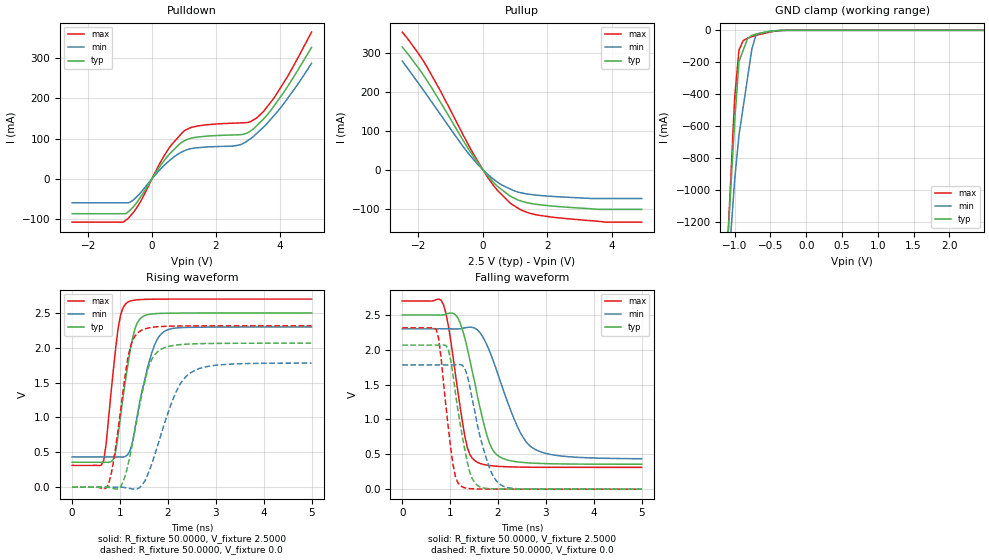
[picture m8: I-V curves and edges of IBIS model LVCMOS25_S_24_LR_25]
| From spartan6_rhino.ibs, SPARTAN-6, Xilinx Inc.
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|   Model LVCMOS25_S_24_LR_25
[Model]  LVCMOS25_S_24_LR_25
Model_type I/O
Polarity   Non-Inverting
Enable   Active-Low
Vinl =   0.7000V
Vinh =   1.7000V
Vmeas =  1.2500V
Cref =   0.0F
Rref =   1.0000M
Vref =   0.0V
C_comp   6.08pF   5.79pF   6.38pF
|C_comp  6.55pF   6.18pF   6.90pF
[Temperature Range]   25.0000   85.0000   0.0
[Voltage Range]   2.5000V   2.3000V   2.7000V
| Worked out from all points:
|   slope of the pulldown table from 0 to 0.375 V, typ, clamps not added: 8.44 ohm
|   slope of the pullup table from 0 to 0.375 V, typ, clamps not added: 10.3 ohm
|   GND clamp passes 1 mA (typ) near -0.36 V on its own axis
|   rising waveform, R_fixture 50.0000, V_fixture 2.5000: 20-80 % time 275ps typ, 359ps min, 216ps max; typ from 0.358 V to 2.5 V
|   rising waveform, R_fixture 50.0000, V_fixture 0.0: 20-80 % time 369ps typ, 539ps min, 279ps max; typ from 0 V to 2.07 V
|   falling waveform, R_fixture 50.0000, V_fixture 2.5000: 20-80 % time 422ps typ, 614ps min, 309ps max; typ from 2.5 V to 0.358 V
|   falling waveform, R_fixture 50.0000, V_fixture 0.0: 20-80 % time 295ps typ, 373ps min, 223ps max; typ from 2.07 V to 0 V
[Pulldown]
|Voltage   I(typ)   I(min)   I(max)
-2.5V     -86.58mA   -59.58mA   -107.7mA
-900mV    -86.58mA   -59.58mA   -107.7mA
-580mV    -69.31mA   -52.45mA   -83.35mA
380mV     44.96mA    33.08mA    56.81mA
1.02V     94.53mA    69.88mA    119.5mA
1.5V      104.3mA    77.61mA    132.1mA
2.7V      109.3mA    83.37mA    138.6mA
2.94V     112.3mA    91.38mA    139.4mA
3.26V     130.1mA    111mA      149.9mA
3.82V     180.4mA    156.6mA    200.2mA
4.3V      235.3mA    205.1mA    261.2mA
5V        326.3mA    286.9mA    364.3mA
[Pullup]
|Voltage   I(typ)   I(min)   I(max)
-2.5V     316.1mA    279.9mA    354.4mA
-1.96V    257.5mA    218.2mA    294.6mA
-1.72V    228mA      190.3mA    262.8mA
-1.32V    174.4mA    142.8mA    203.3mA
-680mV    84.88mA    67.47mA    100.6mA
-280mV    32.58mA    25.23mA    39.05mA
280mV     -28.22mA   -21.19mA   -34.88mA
840mV     -67.66mA   -49.23mA   -85.55mA
1.24V     -82.14mA   -60.35mA   -105.7mA
1.88V     -91.2mA    -66.99mA   -118.9mA
3.8V      -102mA     -74mA      -135mA
4.92V     -102mA     -74mA      -135mA
[GND_clamp]
|Voltage   I(typ)   I(min)   I(max)
-2.5V     -12.25A    -10.32A    -14.42A
-1.12V    -1.496A    -1.678A    -1.527A
-1.06V    -1.031A    -1.304A    -970.6mA
-1V       -567.8mA   -930.3mA   -416.8mA
-940mV    -195.1mA   -653.7mA   -122.6mA
-880mV    -123mA     -474.4mA   -63.59mA
-820mV    -50.86mA   -295.1mA   -49.17mA
-760mV    -31.12mA   -115.9mA   -39.69mA
-700mV    -23.47mA   -23.51mA   -31.16mA
-460mV    -3.911mA   -3.393mA   -6.645mA
-220mV    -13.59uA   -39.05uA   -47.32uA
2.48V     23.94nA    240.7nA    33.78nA
[POWER_clamp]
|Voltage   I(typ)   I(min)   I(max)
-2.49V    0A         0A         0A
-2.46V    0A         0A         0A
-2.43V    0A         0A         0A
0V        0A         0A         0A
[Ramp]
| variable   typ   min   max
dV/dt_r  1.2396/0.3662n   1.0686/0.5375n   1.3890/0.2770n
dV/dt_f  1.2853/0.4200n   1.1179/0.6133n   1.4324/0.3060n
R_load = 50.0000
[Rising Waveform]
R_fixture= 50.0000
V_fixture= 2.5000
V_fixture_min= 2.3000
V_fixture_max= 2.7000
|time   V(typ)   V(min)   V(max)
0s        357.7mV    433.9mV    312.5mV
660ps     357.7mV    433.9mV    386.1mV
910ps     509.4mV    433.9mV    1.997V
1.01ns    1.008V     433mV      2.466V
1.16ns    1.737V     464.3mV    2.655V
1.31ns    2.269V     827.8mV    2.685V
1.41ns    2.409V     1.218V     2.691V
1.67ns    2.486V     1.941V     2.697V
1.92ns    2.495V     2.233V     2.698V
5ns       2.499V     2.299V     2.699V
[Rising Waveform]
R_fixture= 50.0000
V_fixture= 0.0
|time   V(typ)   V(min)   V(max)
0s        0V         0V         0V
760ps     -1.685mV   -2.933uV   43.01mV
860ps     -18.73mV   -19.91uV   351.7mV
1.06ns    68.84mV    -1.455mV   1.358V
1.21ns    453.3mV    -19.31mV   1.999V
1.41ns    1.171V     -6.171mV   2.236V
1.72ns    1.897V     451mV      2.298V
2.17ns    2.039V     1.365V     2.312V
2.47ns    2.055V     1.64V      2.314V
5ns       2.066V     1.781V     2.315V
[Falling Waveform]
R_fixture= 50.0000
V_fixture= 2.5000
V_fixture_min= 2.3000
V_fixture_max= 2.7000
|time   V(typ)   V(min)   V(max)
0s        2.5V       2.3V       2.7V
860ps     2.5V       2.3V       2.649V
1.21ns    2.385V     2.301V     1.176V
1.36ns    2.017V     2.321V     596.8mV
1.52ns    1.512V     2.31V      408.3mV
1.77ns    767.7mV    2.066V     344.7mV
1.92ns    532.9mV    1.804V     332mV
2.37ns    395.2mV    952.9mV    318mV
2.68ns    375.5mV    614.3mV    314.9mV
5ns       357.9mV    436.8mV    312.6mV
[Falling Waveform]
R_fixture= 50.0000
V_fixture= 0.0
|time   V(typ)   V(min)   V(max)
0s        2.067V     1.782V     2.315V
710ps     2.067V     1.782V     2.291V
810ps     2.067V     1.782V     1.888V
960ps     2.007V     1.782V     893.9mV
1.11ns    1.385V     1.782V     182.3mV
1.21ns    933mV      1.788V     51.67mV
1.46ns    151.7mV    1.299V     6.05mV
1.77ns    10.05mV    410.1mV    1.673mV
2.07ns    2.539mV    56.11mV    809.3uV
5ns       34.07uV    144.2uV    40uV
